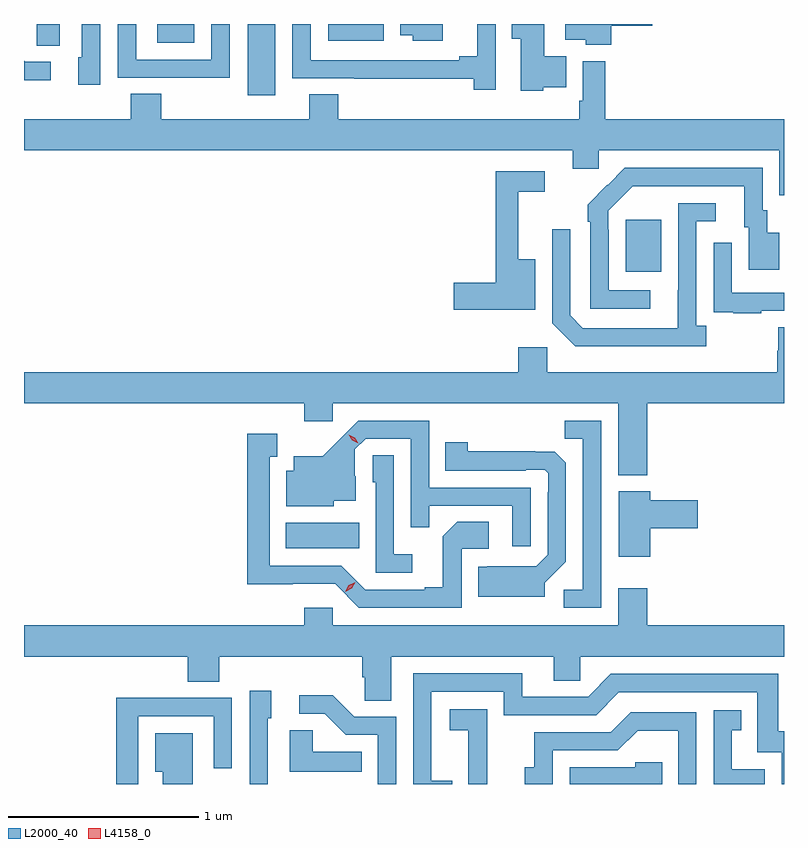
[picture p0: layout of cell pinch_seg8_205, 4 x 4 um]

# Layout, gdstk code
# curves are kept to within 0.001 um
import gdstk
lib = gdstk.Library(unit=1e-6, precision=1e-09)
def R(c, l, rs):  # rectangles x0, y0, x1, y1
    for r in rs: c.add(gdstk.rectangle(r[:2], r[2:], *l))
def P(c, l, *ps):  # polygons
    for p in ps: c.add(gdstk.Polygon(p, *l))
L2000_40 = (2000, 40)
L4158_0 = (4158, 0)

pinch_seg8_205 = lib.new_cell('pinch_seg8_205')
R(pinch_seg8_205, L2000_40, [(622.883,1155.698,623.27,1155.832), (624.671,1157.153,624.859,1157.428), (622.682,1158.081,622.828,1158.457), (621.573,1158.343,621.694,1158.457), (622.205,1158.359,622.402,1158.457), (623.105,1158.368,623.398,1158.457)])
P(pinch_seg8_205, L2000_40, [(624.237,1158.125),(624.358,1158.125),(624.358,1158.286),(624.244,1158.286),(624.244,1158.457),(624.073,1158.457),(624.073,1158.379),(624.119,1158.379),(624.119,1158.107),(624.237,1158.107)],
  [(622.587,1158.457),(622.491,1158.457),(622.491,1158.27),(622.095,1158.27),(622.095,1158.457),(621.999,1158.457),(621.999,1158.174),(622.315,1158.174),(622.315,1158.173),(622.587,1158.173)],
  [(623.988,1158.457),(623.891,1158.457),(623.891,1158.287),(623.795,1158.287),(623.795,1158.267),(623.013,1158.267),(623.013,1158.457),(622.917,1158.457),(622.917,1158.171),(623.242,1158.171),(623.242,1158.17),(623.872,1158.17),(623.872,1158.111),(623.988,1158.111)],
  [(621.906,1158.457),(621.81,1158.457),(621.81,1158.282),(621.791,1158.282),(621.791,1158.138),(621.906,1158.138)],
  [(623.71,1158.457),(623.486,1158.457),(623.486,1158.398),(623.552,1158.398),(623.552,1158.368),(623.71,1158.368)],
  [(624.596,1158.449),(624.811,1158.449),(624.811,1158.457),(624.353,1158.457),(624.353,1158.374),(624.462,1158.374),(624.462,1158.347),(624.596,1158.347)],
  [(621.646,1158.258),(621.511,1158.258),(621.505,1158.264),(621.505,1158.161),(621.646,1158.161)],
  [(625.505,1157.956),(624.563,1157.956),(624.563,1158.262),(624.447,1158.262),(624.447,1158.052),(624.427,1158.052),(624.427,1157.956),(623.159,1157.956),(623.159,1158.086),(623.006,1158.086),(623.006,1157.956),(622.227,1157.956),(622.227,1158.089),(622.067,1158.089),(622.067,1157.956),(621.505,1157.956),(621.505,1157.792),(624.392,1157.792),(624.392,1157.694),(624.531,1157.694),(624.531,1157.792),(625.481,1157.792),(625.481,1157.557),(625.505,1157.557)],
  [(624.802,1157.055),(624.582,1157.055),(624.582,1157.375),(624.579,1157.375),(624.579,1157.475),(624.708,1157.604),(625.295,1157.604),(625.295,1157.388),(625.319,1157.388),(625.319,1157.163),(625.48,1157.163),(625.48,1157.359),(625.417,1157.359),(625.417,1157.478),(625.392,1157.478),(625.392,1157.7),(624.668,1157.7),(624.471,1157.505),(624.471,1157.417),(624.486,1157.417),(624.486,1156.959),(624.802,1156.959)],
  [(624.196,1157.218),(624.107,1157.218),(624.107,1157.574),(624.247,1157.574),(624.247,1157.682),(623.989,1157.682),(623.989,1157.096),(623.766,1157.096),(623.766,1156.954),(624.196,1156.954)],
  [(625.096,1156.87),(625.044,1156.87),(625.044,1157.418),(625.147,1157.418),(625.147,1157.514),(624.948,1157.514),(624.947,1156.857),(624.447,1156.857),(624.381,1156.923),(624.381,1157.377),(624.285,1157.377),(624.285,1156.881),(624.406,1156.76),(625.096,1156.76)],
  [(625.385,1156.947),(625.505,1156.947),(625.505,1157.043),(625.23,1157.043),(625.23,1157.305),(625.134,1157.305),(625.134,1157.05),(625.135,1157.05),(625.135,1156.941),(625.237,1156.941),(625.237,1156.935),(625.385,1156.935)],
  [(624.785,1156.46),(625.505,1156.46),(625.505,1156.862),(625.474,1156.862),(625.474,1156.737),(625.469,1156.737),(625.469,1156.624),(624.258,1156.624),(624.258,1156.756),(624.107,1156.756),(624.107,1156.624),(621.505,1156.624),(621.505,1156.46),(622.979,1156.46),(622.979,1156.365),(623.13,1156.365),(623.13,1156.46),(624.632,1156.46),(624.632,1156.082),(624.785,1156.082)],
  [(624.171,1156.017),(623.637,1156.017),(623.637,1156.368),(623.264,1156.368),(623.077,1156.183),(622.925,1156.183),(622.925,1156.105),(622.886,1156.105),(622.886,1155.92),(623.136,1155.92),(623.136,1155.947),(623.251,1155.947),(623.251,1156.076),(623.247,1156.076),(623.247,1156.218),(623.304,1156.275),(623.541,1156.275),(623.541,1155.808),(623.639,1155.808),(623.639,1155.921),(624.075,1155.921),(624.075,1155.708),(624.171,1155.708)],
  [(624.543,1156.368),(624.352,1156.368),(624.352,1156.273),(624.447,1156.273),(624.447,1155.48),(624.345,1155.48),(624.345,1155.384),(624.543,1155.384)],
  [(623.808,1155.696),(623.95,1155.696),(623.95,1155.836),(623.785,1155.836),(623.709,1155.76),(623.709,1155.493),(623.615,1155.493),(623.615,1155.48),(623.301,1155.48),(623.175,1155.606),(622.798,1155.606),(622.798,1156.179),(622.837,1156.179),(622.837,1156.3),(622.68,1156.3),(622.68,1155.509),(623.142,1155.51),(623.268,1155.384),(623.808,1155.384)],
  [(624.247,1155.516),(624.357,1155.626),(624.357,1156.148),(624.298,1156.207),(623.841,1156.208),(623.841,1156.255),(623.722,1156.255),(623.722,1156.107),(624.146,1156.107),(624.146,1156.11),(624.246,1156.11),(624.264,1156.092),(624.264,1155.992),(624.261,1155.992),(624.261,1155.663),(624.201,1155.603),(623.944,1155.604),(623.941,1155.601),(623.897,1155.601),(623.897,1155.443),(624.247,1155.443)],
  [(623.548,1155.667),(623.451,1155.667),(623.451,1156.187),(623.34,1156.187),(623.34,1156.044),(623.355,1156.044),(623.355,1155.57),(623.548,1155.57)],
  [(624.802,1155.803),(625.051,1155.803),(625.051,1155.95),(624.802,1155.95),(624.802,1155.997),(624.635,1155.997),(624.635,1155.654),(624.802,1155.654)],
  [(623.437,1155.128),(624.293,1155.128),(624.293,1155.001),(624.432,1155.001),(624.432,1155.128),(625.505,1155.128),(625.505,1155.292),(624.785,1155.292),(624.785,1155.487),(624.632,1155.487),(624.632,1155.292),(623.13,1155.292),(623.13,1155.385),(622.979,1155.385),(622.979,1155.292),(621.505,1155.292),(621.505,1155.128),(622.367,1155.128),(622.367,1154.995),(622.532,1154.995),(622.532,1155.128),(623.285,1155.128),(623.285,1155.019),(623.298,1155.019),(623.298,1154.896),(623.437,1154.896)],
  [(623.759,1154.474),(623.649,1154.474),(623.649,1154.943),(624.03,1154.943),(624.03,1154.82),(624.516,1154.82),(624.636,1154.94),(625.365,1154.94),(625.365,1154.625),(625.494,1154.625),(625.494,1154.457),(625.505,1154.457),(625.505,1154.734),(625.474,1154.734),(625.474,1155.036),(624.594,1155.036),(624.474,1154.916),(624.127,1154.916),(624.127,1155.039),(623.553,1155.039),(623.553,1154.457),(623.759,1154.457)],
  [(622.788,1154.802),(622.807,1154.802),(622.807,1154.947),(622.692,1154.947),(622.692,1154.457),(622.788,1154.457)],
  [(623.463,1154.811),(623.244,1154.811),(623.131,1154.924),(622.953,1154.924),(622.953,1154.826),(623.087,1154.826),(623.198,1154.715),(623.367,1154.715),(623.367,1154.457),(623.463,1154.457)],
  [(622.107,1154.814),(622.503,1154.814),(622.503,1154.541),(622.599,1154.541),(622.599,1154.91),(622.283,1154.91),(622.283,1154.912),(621.991,1154.912),(621.991,1154.457),(622.107,1154.457)],
  [(623.942,1154.645),(623.943,1154.645),(623.943,1154.851),(623.745,1154.851),(623.745,1154.741),(623.843,1154.741),(623.843,1154.513),(623.844,1154.513),(623.844,1154.457),(623.942,1154.457)],
  [(625.404,1154.535),(625.231,1154.535),(625.231,1154.739),(625.28,1154.739),(625.28,1154.845),(625.134,1154.845),(625.134,1154.457),(625.404,1154.457)],
  [(624.288,1154.634),(624.63,1154.634),(624.734,1154.738),(624.948,1154.738),(624.948,1154.457),(625.044,1154.457),(625.044,1154.835),(624.698,1154.835),(624.593,1154.73),(624.19,1154.73),(624.19,1154.545),(624.141,1154.545),(624.141,1154.457),(624.288,1154.457)],
  [(623.282,1154.626),(623.025,1154.626),(623.025,1154.741),(622.904,1154.741),(622.904,1154.522),(623.282,1154.522)],
  [(622.393,1154.725),(622.196,1154.725),(622.196,1154.522),(622.235,1154.522),(622.235,1154.457),(622.393,1154.457)],
  [(624.863,1154.571),(624.723,1154.571),(624.723,1154.544),(624.378,1154.544),(624.378,1154.457),(624.863,1154.457)])
P(pinch_seg8_205, L4158_0, [(623.263,1156.251),(623.232,1156.266),(623.215,1156.295),(623.215,1156.295),(623.215,1156.295),(623.246,1156.28),(623.263,1156.251),(623.263,1156.251)],
  [(623.197,1155.469),(623.197,1155.47),(623.215,1155.502),(623.248,1155.52),(623.248,1155.52),(623.248,1155.52),(623.23,1155.488),(623.197,1155.469)])

lib.write_gds('pinch_seg8_205.gds')
